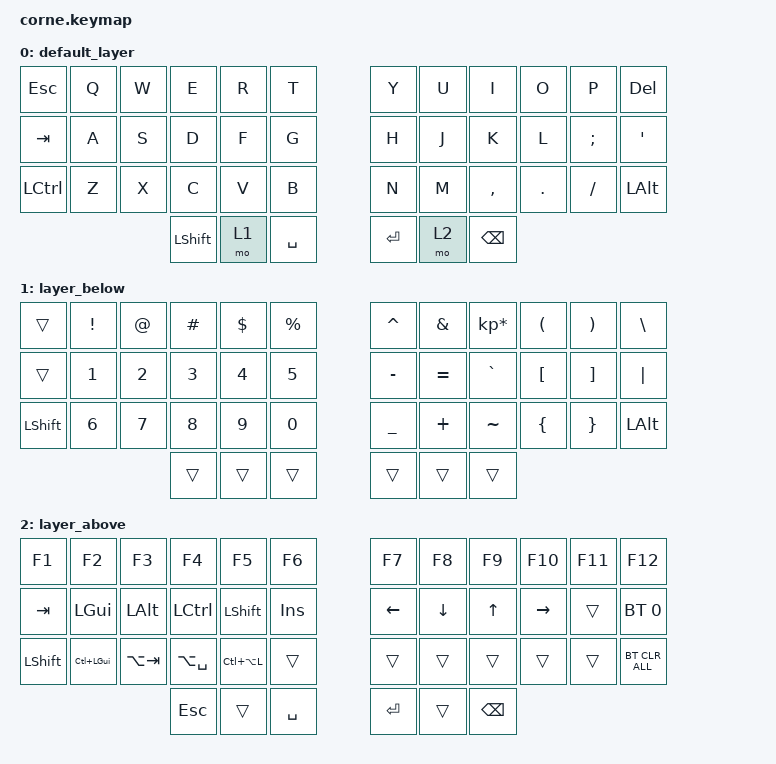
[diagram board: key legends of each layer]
/*
 * Copyright (c) 2020 The ZMK Contributors
 *
 * SPDX-License-Identifier: MIT
 */

#include <behaviors.dtsi>
#include <dt-bindings/zmk/bt.h>
#include <dt-bindings/zmk/keys.h>

/ {
    behaviors {
        tp: tap_preferred {
            compatible = "zmk,behavior-hold-tap";
            label = "TAP_PREFERRED";
            #binding-cells = <2>;
            tapping-term-ms = <150>;
            quick-tap-ms = <0>;
            flavor = "tap-preferred";
            bindings = <&kp>, <&kp>;
        };
    };

    keymap {
        compatible = "zmk,keymap";

        default_layer {
            // -----------------------------------------------------------------------------------------
            // | TAB  |  Q  |  W  |  E  |  R  |    T    |   |  Y  |  U   |  I  |  O  |  P  | ESC |
            // | CTRL |  A  |  S  |  D  |  F  |    G    |   |  H  |  J   |  K  |  L  |  ;  |  LWR/'   |
            // | SHFT |  Z  |  X  |  C  |  V  |    B    |   |  N  |  M   |  ,  |  .  |  /  | SHFT |
            //                    | GUI | LWR | ALT/ENT |   | HYPER/SPC | BKSP  | RSE |

            bindings = <
&kp ESC           &kp Q  &kp W  &kp E       &kp R  &kp T        &kp Y      &kp U  &kp I          &kp O    &kp P     &kp DELETE
&kp TAB           &kp A  &kp S  &kp D       &kp F  &kp G        &kp H      &kp J  &kp K          &kp L    &kp SEMI  &kp SQT
&kp LEFT_CONTROL  &kp Z  &kp X  &kp C       &kp V  &kp B        &kp N      &kp M  &kp COMMA      &kp DOT  &kp FSLH  &kp LEFT_ALT
                                &kp LSHIFT  &mo 1  &kp SPACE    &kp ENTER  &mo 2  &kp BACKSPACE
            >;
        };

        layer_below {
            // -----------------------------------------------------------------------------------------
            // |      |  !  |  @  |  #  |  $  |    %     |   |  ^  |  &  |  *  |  (  |  )  |   \   |
            // |      |  1  |  2  |  3  |  4  |    5     |   |  -  |  =  |  `  |  [  |  ]  |  "|"  |
            // | SHFT |  6  |  7  |  8  |  9  |    0     |   |  _  |  +  |  ~  |  {  |  }  | RSHFT |
            //                     | GUI |     | ALT/ENT |   | HYPER/SPACE | BKSP |    |

            bindings = <
&trans     &kp EXCL  &kp AT  &kp HASH  &kp DLLR  &kp PRCNT    &kp CARET  &kp AMPS   &kp KP_MULTIPLY  &kp LPAR  &kp RPAR  &kp BSLH
&trans     &kp N1    &kp N2  &kp N3    &kp N4    &kp N5       &kp MINUS  &kp EQUAL  &kp GRAVE        &kp LBKT  &kp RBKT  &kp PIPE
&kp LSHFT  &kp N6    &kp N7  &kp N8    &kp N9    &kp N0       &kp UNDER  &kp PLUS   &kp TILDE        &kp LBRC  &kp RBRC  &kp LALT
                             &trans    &trans    &trans       &trans     &trans     &trans
            >;
        };

        layer_above {
            // -----------------------------------------------------------------------------------------
            // |       |  F1  |  F2  |  F3  |  F4  |  F5 |            |  F6  |  F7  |  F8  |  F9  |  F10  |   |
            // |       | Prev | Next | Vol - | Vol + | Play/Pause |   |      | LFT | DWN |  UP | RGT |     |     |
            // | BTCLR | BT1 | BT2 | BT3 | BT4 | BT5 |   |            |     |     |     |     |     |     |
            //                    |     |     |    |                  |     |     |     |

            bindings = <
&kp F1          &kp F2            &kp F3        &kp F4         &kp F5          &kp F6        &kp F7     &kp F8    &kp F9         &kp F10    &kp F11  &kp F12
&kp TAB         &kp LEFT_GUI      &kp LEFT_ALT  &kp LCTRL      &kp LEFT_SHIFT  &kp INSERT    &kp LEFT   &kp DOWN  &kp UP         &kp RIGHT  &trans   &bt BT_SEL 0
&kp LEFT_SHIFT  &kp LC(LEFT_GUI)  &kp LA(TAB)   &kp LA(SPACE)  &kp LC(LA(L))   &trans        &trans     &trans    &trans         &trans     &trans   &bt BT_CLR_ALL
                                                &kp ESC        &trans          &kp SPACE     &kp ENTER  &trans    &kp BACKSPACE
            >;
        };
    };
};
